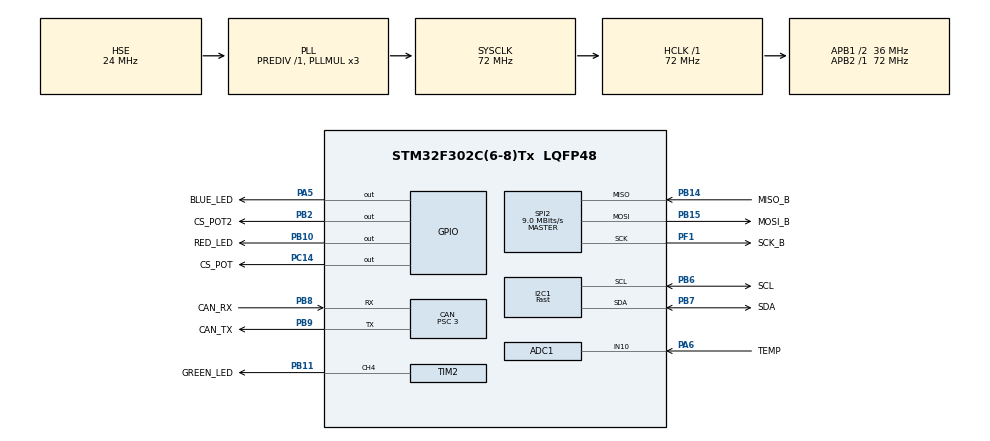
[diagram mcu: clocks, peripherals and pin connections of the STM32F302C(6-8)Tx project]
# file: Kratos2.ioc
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ADC1.Channel-1\#ChannelRegularConversion=ADC_CHANNEL_10
ADC1.ExternalTrigConv=ADC_EXTERNALTRIGCONV_T1_TRGO
ADC1.NbrOfConversionFlag=1
ADC1.master=1
CAN.ABOM=DISABLE
CAN.BS1=CAN_BS1_7TQ
CAN.BS2=CAN_BS2_4TQ
CAN.CalculateBaudRate=999999
CAN.CalculateTimeBit=1000
CAN.CalculateTimeQuantum=83.33333333333334
CAN.NART=ENABLE
CAN.Prescaler=3
CAN.RFLM=DISABLE
CAN.SJW=CAN_SJW_1TQ
I2C1.I2C_Speed_Mode=I2C_Fast
I2C1.Timing=0x00E12573
Mcu.Family=STM32F3
Mcu.Name=STM32F302C(6-8)Tx
Mcu.Package=LQFP48
NVIC.ADC1_IRQn=true\:0\:0\:false\:false\:true\:true\:true\:true
NVIC.CAN_RX1_IRQn=true\:0\:0\:false\:false\:true\:true\:true\:true
NVIC.PriorityGroup=NVIC_PRIORITYGROUP_4
NVIC.TIM1_BRK_TIM15_IRQn=true\:0\:0\:false\:false\:true\:true\:true\:true
NVIC.TIM1_UP_TIM16_IRQn=true\:0\:0\:false\:false\:true\:true\:true\:true
PA5.GPIO_Label=BLUE_LED
PA5.Signal=GPIO_Output
PA6.GPIO_Label=TEMP
PA6.GPIO_Mode=GPIO_MODE_ANALOG
PA6.GPIO_PuPd=GPIO_NOPULL
PA6.Signal=ADCx_IN10
PB10.GPIO_Label=RED_LED
PB10.Signal=GPIO_Output
PB11.GPIO_Label=GREEN_LED
PB11.Signal=S_TIM2_CH4
PB14.GPIO_Label=MISO_B
PB14.Mode=Full_Duplex_Master
PB14.Signal=SPI2_MISO
PB15.GPIO_Label=MOSI_B
PB15.Mode=Full_Duplex_Master
PB15.Signal=SPI2_MOSI
PB2.GPIO_Label=CS_POT2
PB2.PinState=GPIO_PIN_SET
PB2.Signal=GPIO_Output
PB3.GPIO_Label=SCK_A
PB3.Signal=SPI3_SCK
PB4.GPIO_Label=MISO_A
PB4.Signal=SPI3_MISO
PB5.GPIO_Label=MOSI_A
PB5.Signal=SPI3_MOSI
PB6.GPIO_Label=SCL
PB6.Mode=I2C
PB6.Signal=I2C1_SCL
PB7.GPIO_Label=SDA
PB7.Mode=I2C
PB7.Signal=I2C1_SDA
PB8.GPIO_Label=CAN_RX
PB8.GPIO_PuPd=GPIO_NOPULL
PB8.Mode=CAN_Activate
PB8.Signal=CAN_RX
PB9.GPIO_Label=CAN_TX
PB9.Mode=CAN_Activate
PB9.Signal=CAN_TX
PC14\ -\ OSC32_IN.GPIO_Label=CS_POT
PC14\ -\ OSC32_IN.PinState=GPIO_PIN_SET
PC14\ -\ OSC32_IN.Signal=GPIO_Output
PF0-OSC_IN.Mode=HSE-External-Clock-Source
PF0-OSC_IN.Signal=RCC_OSC_IN
PF1-OSC_OUT.GPIO_Label=SCK_B
PF1-OSC_OUT.Mode=Full_Duplex_Master
PF1-OSC_OUT.Signal=SPI2_SCK
ProjectManager.HeapSize=0x200
ProjectManager.StackSize=0x400
ProjectManager.TargetToolchain=STM32CubeIDE
RCC.ADC12PRES=RCC_ADC1PLLCLK_DIV6
RCC.AHBFreq_Value=72000000
RCC.APB1CLKDivider=RCC_HCLK_DIV2
RCC.APB1Freq_Value=36000000
RCC.APB1TimFreq_Value=72000000
RCC.APB2Freq_Value=72000000
RCC.APB2TimFreq_Value=72000000
RCC.CortexFreq_Value=72000000
RCC.HCLKFreq_Value=72000000
RCC.HSE_VALUE=24000000
RCC.HSI_VALUE=8000000
RCC.I2c1ClockSelection=RCC_I2C1CLKSOURCE_SYSCLK
RCC.LSE_VALUE=32768
RCC.PLLMUL=RCC_PLL_MUL3
RCC.PLLSourceVirtual=RCC_PLLSOURCE_HSE
RCC.SYSCLKFreq_VALUE=72000000
RCC.SYSCLKSourceVirtual=RCC_SYSCLKSOURCE_PLLCLK
RCC.USBFreq_Value=72000000
SH.ADCx_IN10.0=ADC1_IN10,IN10-Single-Ended
SH.S_TIM2_CH4.0=TIM2_CH4,PWM Generation4 CH4
SPI2.BaudRatePrescaler=SPI_BAUDRATEPRESCALER_4
SPI2.CalculateBaudRate=9.0 MBits/s
SPI2.DataSize=SPI_DATASIZE_16BIT
SPI2.Direction=SPI_DIRECTION_2LINES
SPI2.Mode=SPI_MODE_MASTER
SPI2.VirtualType=VM_MASTER
TIM1.Channel-PWM\ Generation1\ No\ Output=TIM_CHANNEL_1
TIM1.OCMode_PWM-PWM\ Generation1\ No\ Output=TIM_OCMODE_PWM1
TIM1.Period=36000-1
TIM1.Prescaler=1000-1
TIM1.Pulse-PWM\ Generation1\ No\ Output=0
TIM1.TIM_MasterOutputTrigger=TIM_TRGO_UPDATE
TIM16.Period=10000
TIM16.Prescaler=720-1
TIM2.Channel-PWM\ Generation4\ CH4=TIM_CHANNEL_4
TIM2.OCMode_PWM-PWM\ Generation4\ CH4=TIM_OCMODE_PWM2
TIM2.Period=72000-1
TIM2.Prescaler=100-1
TIM2.Pulse-PWM\ Generation4\ CH4=54000
VP_TIM16_VS_ClockSourceINT.Mode=Enable_Timer
VP_TIM1_VS_ClockSourceINT.Mode=Internal
VP_TIM1_VS_no_output1.Mode=PWM Generation1 No Output
VP_TIM2_VS_ClockSourceINT.Mode=Internal
VP_TIM2_VS_OPM.Mode=OPM_bit
board=custom

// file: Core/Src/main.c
/* USER CODE BEGIN Header */
/**
  ******************************************************************************
  * @file           : main.c
  * @brief          : Main program body
  ******************************************************************************
  * @attention
  *
  * Copyright (c) 2026 STMicroelectronics.
  * All rights reserved.
  *
  * This software is licensed under terms that can be found in the LICENSE file
  * in the root directory of this software component.
  * If no LICENSE file comes with this software, it is provided AS-IS.
  *
  ******************************************************************************
  */
/* USER CODE END Header */
#include "main.h"

ADC_HandleTypeDef hadc1;

CAN_HandleTypeDef hcan;

I2C_HandleTypeDef hi2c1;

SPI_HandleTypeDef hspi2;

TIM_HandleTypeDef htim1;
TIM_HandleTypeDef htim2;
TIM_HandleTypeDef htim16;

void SystemClock_Config(void);
static void MX_GPIO_Init(void);
static void MX_CAN_Init(void);
static void MX_I2C1_Init(void);
static void MX_ADC1_Init(void);
static void MX_TIM1_Init(void);
static void MX_TIM2_Init(void);
static void MX_SPI2_Init(void);
static void MX_TIM16_Init(void);

int main(void)
{

  /* MCU Configuration--------------------------------------------------------*/

  /* Reset of all peripherals, Initializes the Flash interface and the Systick. */
  HAL_Init();

  /* Configure the system clock */
  SystemClock_Config();

  /* Initialize all configured peripherals */
  MX_GPIO_Init();
  MX_CAN_Init();
  MX_I2C1_Init();
  MX_ADC1_Init();
  MX_TIM1_Init();
  MX_TIM2_Init();
  MX_SPI2_Init();
  MX_TIM16_Init();

  /* USER CODE BEGIN 2 */

  uint8_t frame[2];
  frame[0] = 0b00000010; // bit 7 is 1 so that error is not thrown
  frame[1] = 0b10000000; // change to 127 (done)

// RX arrays for each pot

	uint8_t RxReadOne[2];
	uint8_t RxReadTwo[2];
	RxReadOne[0] = 0b00000000;
	RxReadTwo[0] = 0b00000000;

  HAL_GPIO_WritePin(CS_POT_GPIO_Port, CS_POT_Pin, GPIO_PIN_RESET); // set first potentiometer low

  if (HAL_SPI_TransmitReceive(&hspi2, frame, RxReadOne, 2, 100) == HAL_OK) {

	  // data successfully transmitted
  }
  else {
	  // blue led indicating error
	  HAL_GPIO_WritePin(GPIOA, GPIO_PIN_5, GPIO_PIN_SET);
  }

  HAL_GPIO_WritePin(CS_POT_GPIO_Port, CS_POT_Pin, GPIO_PIN_SET); // set first potentiometer high

                                  // second pot //

  HAL_GPIO_WritePin(CS_POT2_GPIO_Port, CS_POT2_Pin, GPIO_PIN_RESET); // set second potentiometer low

    if (HAL_SPI_TransmitReceive(&hspi2, frame,  RxReadTwo, 2, 100) == HAL_OK) {

  	  // data successfully transmitted
    }
    else {
  	  // blue led indicating error
    	HAL_GPIO_WritePin(GPIOA, GPIO_PIN_5, GPIO_PIN_SET);
    }

    HAL_GPIO_WritePin(CS_POT2_GPIO_Port, CS_POT2_Pin, GPIO_PIN_SET); // set second potentiometer high

  /* USER CODE END 2 */

  /* Infinite loop */
  while (1)
  {

  }
}

void SystemClock_Config(void)
{
  RCC_OscInitTypeDef RCC_OscInitStruct = {0};
  RCC_ClkInitTypeDef RCC_ClkInitStruct = {0};
  RCC_PeriphCLKInitTypeDef PeriphClkInit = {0};

  /** Initializes the RCC Oscillators according to the specified parameters
  * in the RCC_OscInitTypeDef structure.
  */
  RCC_OscInitStruct.OscillatorType = RCC_OSCILLATORTYPE_HSE;
  RCC_OscInitStruct.HSEState = RCC_HSE_BYPASS;
  RCC_OscInitStruct.HSEPredivValue = RCC_HSE_PREDIV_DIV1;
  RCC_OscInitStruct.HSIState = RCC_HSI_ON;
  RCC_OscInitStruct.PLL.PLLState = RCC_PLL_ON;
  RCC_OscInitStruct.PLL.PLLSource = RCC_PLLSOURCE_HSE;
  RCC_OscInitStruct.PLL.PLLMUL = RCC_PLL_MUL3;
  if (HAL_RCC_OscConfig(&RCC_OscInitStruct) != HAL_OK)
  {
    Error_Handler();
  }

  /** Initializes the CPU, AHB and APB buses clocks
  */
  RCC_ClkInitStruct.ClockType = RCC_CLOCKTYPE_HCLK|RCC_CLOCKTYPE_SYSCLK
                              |RCC_CLOCKTYPE_PCLK1|RCC_CLOCKTYPE_PCLK2;
  RCC_ClkInitStruct.SYSCLKSource = RCC_SYSCLKSOURCE_PLLCLK;
  RCC_ClkInitStruct.AHBCLKDivider = RCC_SYSCLK_DIV1;
  RCC_ClkInitStruct.APB1CLKDivider = RCC_HCLK_DIV2;
  RCC_ClkInitStruct.APB2CLKDivider = RCC_HCLK_DIV1;

  if (HAL_RCC_ClockConfig(&RCC_ClkInitStruct, FLASH_LATENCY_2) != HAL_OK)
  {
    Error_Handler();
  }
  PeriphClkInit.PeriphClockSelection = RCC_PERIPHCLK_I2C1|RCC_PERIPHCLK_TIM1
                              |RCC_PERIPHCLK_TIM16|RCC_PERIPHCLK_ADC1;
  PeriphClkInit.I2c1ClockSelection = RCC_I2C1CLKSOURCE_SYSCLK;
  PeriphClkInit.Tim1ClockSelection = RCC_TIM1CLK_HCLK;
  PeriphClkInit.Tim16ClockSelection = RCC_TIM16CLK_HCLK;
  PeriphClkInit.Adc1ClockSelection = RCC_ADC1PLLCLK_DIV6;

  if (HAL_RCCEx_PeriphCLKConfig(&PeriphClkInit) != HAL_OK)
  {
    Error_Handler();
  }
}

static void MX_ADC1_Init(void)
{

  ADC_ChannelConfTypeDef sConfig = {0};

  /** Common config
  */
  hadc1.Instance = ADC1;
  hadc1.Init.ClockPrescaler = ADC_CLOCK_ASYNC_DIV1;
  hadc1.Init.Resolution = ADC_RESOLUTION_12B;
  hadc1.Init.ScanConvMode = ADC_SCAN_DISABLE;
  hadc1.Init.ContinuousConvMode = DISABLE;
  hadc1.Init.DiscontinuousConvMode = DISABLE;
  hadc1.Init.ExternalTrigConvEdge = ADC_EXTERNALTRIGCONVEDGE_RISING;
  hadc1.Init.ExternalTrigConv = ADC_EXTERNALTRIGCONV_T1_TRGO;
  hadc1.Init.DataAlign = ADC_DATAALIGN_RIGHT;
  hadc1.Init.NbrOfConversion = 1;
  hadc1.Init.DMAContinuousRequests = DISABLE;
  hadc1.Init.EOCSelection = ADC_EOC_SINGLE_CONV;
  hadc1.Init.LowPowerAutoWait = DISABLE;
  hadc1.Init.Overrun = ADC_OVR_DATA_OVERWRITTEN;
  if (HAL_ADC_Init(&hadc1) != HAL_OK)
  {
    Error_Handler();
  }

  /** Configure Regular Channel
  */
  sConfig.Channel = ADC_CHANNEL_10;
  sConfig.Rank = ADC_REGULAR_RANK_1;
  sConfig.SingleDiff = ADC_SINGLE_ENDED;
  sConfig.SamplingTime = ADC_SAMPLETIME_1CYCLE_5;
  sConfig.OffsetNumber = ADC_OFFSET_NONE;
  sConfig.Offset = 0;
  if (HAL_ADC_ConfigChannel(&hadc1, &sConfig) != HAL_OK)
  {
    Error_Handler();
  }

}

static void MX_CAN_Init(void)
{

  hcan.Instance = CAN;
  hcan.Init.Prescaler = 3;
  hcan.Init.Mode = CAN_MODE_NORMAL;
  hcan.Init.SyncJumpWidth = CAN_SJW_1TQ;
  hcan.Init.TimeSeg1 = CAN_BS1_7TQ;
  hcan.Init.TimeSeg2 = CAN_BS2_4TQ;
  hcan.Init.TimeTriggeredMode = DISABLE;
  hcan.Init.AutoBusOff = DISABLE;
  hcan.Init.AutoWakeUp = DISABLE;
  hcan.Init.AutoRetransmission = ENABLE;
  hcan.Init.ReceiveFifoLocked = DISABLE;
  hcan.Init.TransmitFifoPriority = DISABLE;
  if (HAL_CAN_Init(&hcan) != HAL_OK)
  {
    Error_Handler();
  }

}

static void MX_I2C1_Init(void)
{

  hi2c1.Instance = I2C1;
  hi2c1.Init.Timing = 0x00E12573;
  hi2c1.Init.OwnAddress1 = 0;
  hi2c1.Init.AddressingMode = I2C_ADDRESSINGMODE_7BIT;
  hi2c1.Init.DualAddressMode = I2C_DUALADDRESS_DISABLE;
  hi2c1.Init.OwnAddress2 = 0;
  hi2c1.Init.OwnAddress2Masks = I2C_OA2_NOMASK;
  hi2c1.Init.GeneralCallMode = I2C_GENERALCALL_DISABLE;
  hi2c1.Init.NoStretchMode = I2C_NOSTRETCH_DISABLE;
  if (HAL_I2C_Init(&hi2c1) != HAL_OK)
  {
    Error_Handler();
  }

  /** Configure Analogue filter
  */
  if (HAL_I2CEx_ConfigAnalogFilter(&hi2c1, I2C_ANALOGFILTER_ENABLE) != HAL_OK)
  {
    Error_Handler();
  }

  /** Configure Digital filter
  */
  if (HAL_I2CEx_ConfigDigitalFilter(&hi2c1, 0) != HAL_OK)
  {
    Error_Handler();
  }

}

static void MX_SPI2_Init(void)
{

  /* SPI2 parameter configuration*/
  hspi2.Instance = SPI2;
  hspi2.Init.Mode = SPI_MODE_MASTER;
  hspi2.Init.Direction = SPI_DIRECTION_2LINES;
  hspi2.Init.DataSize = SPI_DATASIZE_16BIT;
  hspi2.Init.CLKPolarity = SPI_POLARITY_LOW;
  hspi2.Init.CLKPhase = SPI_PHASE_1EDGE;
  hspi2.Init.NSS = SPI_NSS_SOFT;
  hspi2.Init.BaudRatePrescaler = SPI_BAUDRATEPRESCALER_4;
  hspi2.Init.FirstBit = SPI_FIRSTBIT_MSB;
  hspi2.Init.TIMode = SPI_TIMODE_DISABLE;
  hspi2.Init.CRCCalculation = SPI_CRCCALCULATION_DISABLE;
  hspi2.Init.CRCPolynomial = 7;
  hspi2.Init.CRCLength = SPI_CRC_LENGTH_DATASIZE;
  hspi2.Init.NSSPMode = SPI_NSS_PULSE_ENABLE;
  if (HAL_SPI_Init(&hspi2) != HAL_OK)
  {
    Error_Handler();
  }

}

static void MX_TIM1_Init(void)
{

  TIM_ClockConfigTypeDef sClockSourceConfig = {0};
  TIM_MasterConfigTypeDef sMasterConfig = {0};
  TIM_OC_InitTypeDef sConfigOC = {0};
  TIM_BreakDeadTimeConfigTypeDef sBreakDeadTimeConfig = {0};

  htim1.Instance = TIM1;
  htim1.Init.Prescaler = 1000-1;
  htim1.Init.CounterMode = TIM_COUNTERMODE_UP;
  htim1.Init.Period = 36000-1;
  htim1.Init.ClockDivision = TIM_CLOCKDIVISION_DIV1;
  htim1.Init.RepetitionCounter = 0;
  htim1.Init.AutoReloadPreload = TIM_AUTORELOAD_PRELOAD_DISABLE;
  if (HAL_TIM_Base_Init(&htim1) != HAL_OK)
  {
    Error_Handler();
  }
  sClockSourceConfig.ClockSource = TIM_CLOCKSOURCE_INTERNAL;
  if (HAL_TIM_ConfigClockSource(&htim1, &sClockSourceConfig) != HAL_OK)
  {
    Error_Handler();
  }
  if (HAL_TIM_PWM_Init(&htim1) != HAL_OK)
  {
    Error_Handler();
  }
  sMasterConfig.MasterOutputTrigger = TIM_TRGO_UPDATE;
  sMasterConfig.MasterOutputTrigger2 = TIM_TRGO2_RESET;
  sMasterConfig.MasterSlaveMode = TIM_MASTERSLAVEMODE_DISABLE;
  if (HAL_TIMEx_MasterConfigSynchronization(&htim1, &sMasterConfig) != HAL_OK)
  {
    Error_Handler();
  }
  sConfigOC.OCMode = TIM_OCMODE_PWM1;
  sConfigOC.Pulse = 0;
  sConfigOC.OCPolarity = TIM_OCPOLARITY_HIGH;
  sConfigOC.OCNPolarity = TIM_OCNPOLARITY_HIGH;
  sConfigOC.OCFastMode = TIM_OCFAST_DISABLE;
  sConfigOC.OCIdleState = TIM_OCIDLESTATE_RESET;
  sConfigOC.OCNIdleState = TIM_OCNIDLESTATE_RESET;
  if (HAL_TIM_PWM_ConfigChannel(&htim1, &sConfigOC, TIM_CHANNEL_1) != HAL_OK)
  {
    Error_Handler();
  }
  sBreakDeadTimeConfig.OffStateRunMode = TIM_OSSR_DISABLE;
  sBreakDeadTimeConfig.OffStateIDLEMode = TIM_OSSI_DISABLE;
  sBreakDeadTimeConfig.LockLevel = TIM_LOCKLEVEL_OFF;
  sBreakDeadTimeConfig.DeadTime = 0;
  sBreakDeadTimeConfig.BreakState = TIM_BREAK_DISABLE;
  sBreakDeadTimeConfig.BreakPolarity = TIM_BREAKPOLARITY_HIGH;
  sBreakDeadTimeConfig.BreakFilter = 0;
  sBreakDeadTimeConfig.Break2State = TIM_BREAK2_DISABLE;
  sBreakDeadTimeConfig.Break2Polarity = TIM_BREAK2POLARITY_HIGH;
  sBreakDeadTimeConfig.Break2Filter = 0;
  sBreakDeadTimeConfig.AutomaticOutput = TIM_AUTOMATICOUTPUT_DISABLE;
  if (HAL_TIMEx_ConfigBreakDeadTime(&htim1, &sBreakDeadTimeConfig) != HAL_OK)
  {
    Error_Handler();
  }

}

static void MX_TIM2_Init(void)
{

  TIM_ClockConfigTypeDef sClockSourceConfig = {0};
  TIM_MasterConfigTypeDef sMasterConfig = {0};
  TIM_OC_InitTypeDef sConfigOC = {0};

  htim2.Instance = TIM2;
  htim2.Init.Prescaler = 100-1;
  htim2.Init.CounterMode = TIM_COUNTERMODE_UP;
  htim2.Init.Period = 72000-1;
  htim2.Init.ClockDivision = TIM_CLOCKDIVISION_DIV1;
  htim2.Init.AutoReloadPreload = TIM_AUTORELOAD_PRELOAD_DISABLE;
  if (HAL_TIM_Base_Init(&htim2) != HAL_OK)
  {
    Error_Handler();
  }
  sClockSourceConfig.ClockSource = TIM_CLOCKSOURCE_INTERNAL;
  if (HAL_TIM_ConfigClockSource(&htim2, &sClockSourceConfig) != HAL_OK)
  {
    Error_Handler();
  }
  if (HAL_TIM_PWM_Init(&htim2) != HAL_OK)
  {
    Error_Handler();
  }
  if (HAL_TIM_OnePulse_Init(&htim2, TIM_OPMODE_SINGLE) != HAL_OK)
  {
    Error_Handler();
  }
  sMasterConfig.MasterOutputTrigger = TIM_TRGO_RESET;
  sMasterConfig.MasterSlaveMode = TIM_MASTERSLAVEMODE_DISABLE;
  if (HAL_TIMEx_MasterConfigSynchronization(&htim2, &sMasterConfig) != HAL_OK)
  {
    Error_Handler();
  }
  sConfigOC.OCMode = TIM_OCMODE_PWM2;
  sConfigOC.Pulse = 54000;
  sConfigOC.OCPolarity = TIM_OCPOLARITY_HIGH;
  sConfigOC.OCFastMode = TIM_OCFAST_DISABLE;
  if (HAL_TIM_PWM_ConfigChannel(&htim2, &sConfigOC, TIM_CHANNEL_4) != HAL_OK)
  {
    Error_Handler();
  }
  HAL_TIM_MspPostInit(&htim2);

}

static void MX_TIM16_Init(void)
{

  htim16.Instance = TIM16;
  htim16.Init.Prescaler = 720-1;
  htim16.Init.CounterMode = TIM_COUNTERMODE_UP;
  htim16.Init.Period = 10000;
  htim16.Init.ClockDivision = TIM_CLOCKDIVISION_DIV1;
  htim16.Init.RepetitionCounter = 0;
  htim16.Init.AutoReloadPreload = TIM_AUTORELOAD_PRELOAD_DISABLE;
  if (HAL_TIM_Base_Init(&htim16) != HAL_OK)
  {
    Error_Handler();
  }

}

static void MX_GPIO_Init(void)
{
  GPIO_InitTypeDef GPIO_InitStruct = {0};

  /* GPIO Ports Clock Enable */
  __HAL_RCC_GPIOC_CLK_ENABLE();
  __HAL_RCC_GPIOF_CLK_ENABLE();
  __HAL_RCC_GPIOA_CLK_ENABLE();
  __HAL_RCC_GPIOB_CLK_ENABLE();

  /*Configure GPIO pin Output Level */
  HAL_GPIO_WritePin(CS_POT_GPIO_Port, CS_POT_Pin, GPIO_PIN_SET);

  /*Configure GPIO pin Output Level */
  HAL_GPIO_WritePin(BLUE_LED_GPIO_Port, BLUE_LED_Pin, GPIO_PIN_RESET);

  /*Configure GPIO pin Output Level */
  HAL_GPIO_WritePin(CS_POT2_GPIO_Port, CS_POT2_Pin, GPIO_PIN_SET);

  /*Configure GPIO pin Output Level */
  HAL_GPIO_WritePin(RED_LED_GPIO_Port, RED_LED_Pin, GPIO_PIN_RESET);

  /*Configure GPIO pin : CS_POT_Pin */
  GPIO_InitStruct.Pin = CS_POT_Pin;
  GPIO_InitStruct.Mode = GPIO_MODE_OUTPUT_PP;
  GPIO_InitStruct.Pull = GPIO_NOPULL;
  GPIO_InitStruct.Speed = GPIO_SPEED_FREQ_LOW;
  HAL_GPIO_Init(CS_POT_GPIO_Port, &GPIO_InitStruct);

  /*Configure GPIO pin : BLUE_LED_Pin */
  GPIO_InitStruct.Pin = BLUE_LED_Pin;
  GPIO_InitStruct.Mode = GPIO_MODE_OUTPUT_PP;
  GPIO_InitStruct.Pull = GPIO_NOPULL;
  GPIO_InitStruct.Speed = GPIO_SPEED_FREQ_LOW;
  HAL_GPIO_Init(BLUE_LED_GPIO_Port, &GPIO_InitStruct);

  /*Configure GPIO pins : CS_POT2_Pin RED_LED_Pin */
  GPIO_InitStruct.Pin = CS_POT2_Pin|RED_LED_Pin;
  GPIO_InitStruct.Mode = GPIO_MODE_OUTPUT_PP;
  GPIO_InitStruct.Pull = GPIO_NOPULL;
  GPIO_InitStruct.Speed = GPIO_SPEED_FREQ_LOW;
  HAL_GPIO_Init(GPIOB, &GPIO_InitStruct);

  /*Configure GPIO pins : SCK_A_Pin MISO_A_Pin MOSI_A_Pin */
  GPIO_InitStruct.Pin = SCK_A_Pin|MISO_A_Pin|MOSI_A_Pin;
  GPIO_InitStruct.Mode = GPIO_MODE_AF_PP;
  GPIO_InitStruct.Pull = GPIO_NOPULL;
  GPIO_InitStruct.Speed = GPIO_SPEED_FREQ_HIGH;
  GPIO_InitStruct.Alternate = GPIO_AF6_SPI3;
  HAL_GPIO_Init(GPIOB, &GPIO_InitStruct);

}

void Error_Handler(void)
{
  __disable_irq();
  while (1)
  {
  }
}
